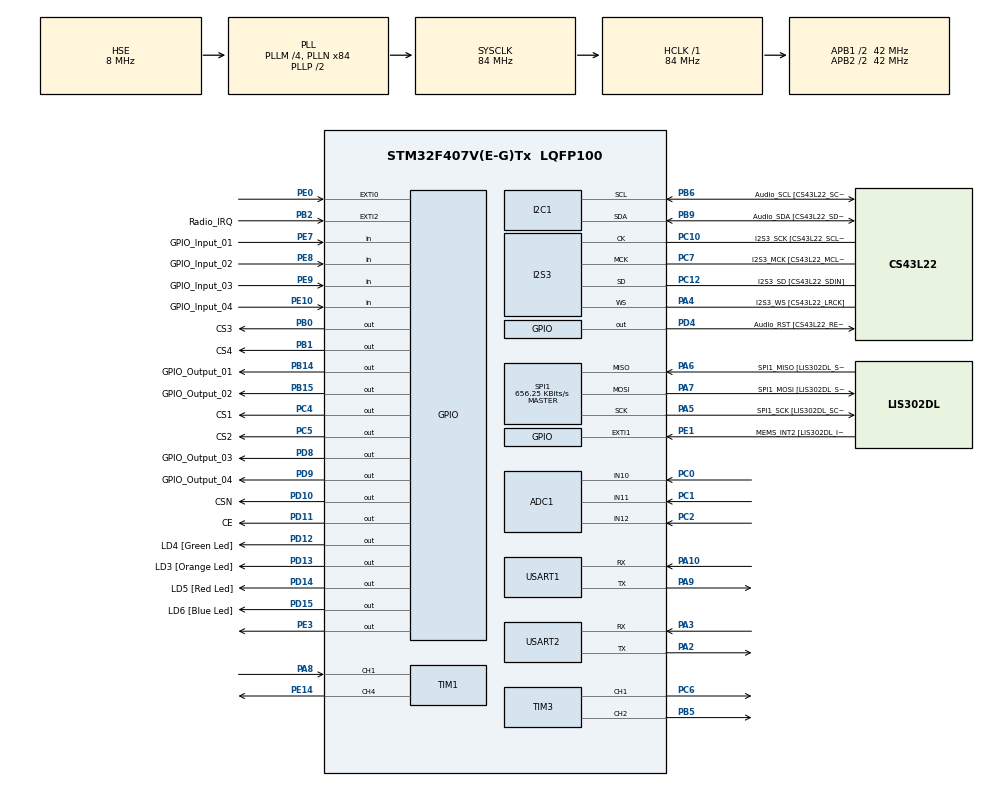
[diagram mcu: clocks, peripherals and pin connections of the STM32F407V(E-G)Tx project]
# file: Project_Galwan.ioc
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ADC1.Channel-8\#ChannelRegularConversion=ADC_CHANNEL_10
ADC1.ContinuousConvMode=ENABLE
ADC1.NbrOfConversionFlag=1
ADC1.Rank-8\#ChannelRegularConversion=1
ADC1.SamplingTime-8\#ChannelRegularConversion=ADC_SAMPLETIME_3CYCLES
ADC1.master=1
Dma.ADC1.0.Direction=DMA_PERIPH_TO_MEMORY
Dma.ADC1.0.FIFOMode=DMA_FIFOMODE_DISABLE
Dma.ADC1.0.Instance=DMA2_Stream0
Dma.ADC1.0.MemDataAlignment=DMA_MDATAALIGN_HALFWORD
Dma.ADC1.0.MemInc=DMA_MINC_ENABLE
Dma.ADC1.0.Mode=DMA_NORMAL
Dma.ADC1.0.PeriphDataAlignment=DMA_PDATAALIGN_HALFWORD
Dma.ADC1.0.PeriphInc=DMA_PINC_DISABLE
Dma.ADC1.0.Priority=DMA_PRIORITY_LOW
Dma.Request0=ADC1
Dma.Request1=USART2_RX
Dma.Request2=USART2_TX
Dma.USART2_RX.1.Direction=DMA_PERIPH_TO_MEMORY
Dma.USART2_RX.1.FIFOMode=DMA_FIFOMODE_DISABLE
Dma.USART2_RX.1.Instance=DMA1_Stream5
Dma.USART2_RX.1.MemDataAlignment=DMA_MDATAALIGN_BYTE
Dma.USART2_RX.1.MemInc=DMA_MINC_ENABLE
Dma.USART2_RX.1.Mode=DMA_NORMAL
Dma.USART2_RX.1.PeriphDataAlignment=DMA_PDATAALIGN_BYTE
Dma.USART2_RX.1.PeriphInc=DMA_PINC_DISABLE
Dma.USART2_RX.1.Priority=DMA_PRIORITY_LOW
Dma.USART2_TX.2.Direction=DMA_MEMORY_TO_PERIPH
Dma.USART2_TX.2.FIFOMode=DMA_FIFOMODE_DISABLE
Dma.USART2_TX.2.Instance=DMA1_Stream6
Dma.USART2_TX.2.MemDataAlignment=DMA_MDATAALIGN_BYTE
Dma.USART2_TX.2.MemInc=DMA_MINC_ENABLE
Dma.USART2_TX.2.Mode=DMA_NORMAL
Dma.USART2_TX.2.PeriphDataAlignment=DMA_PDATAALIGN_BYTE
Dma.USART2_TX.2.PeriphInc=DMA_PINC_DISABLE
Dma.USART2_TX.2.Priority=DMA_PRIORITY_LOW
I2C1.I2C_Mode=I2C_Fast
I2S3.AudioFreq=I2S_AUDIOFREQ_22K
I2S3.AudioFreq-Half_Duplex_Master=I2S_AUDIOFREQ_96K
I2S3.ErrorAudioFreq=-1.35 %
I2S3.ErrorAudioFreq-Half_Duplex_Master=0.8 %
I2S3.FullDuplexMode=I2S_FULLDUPLEXMODE_DISABLE
I2S3.Instance=SPI$Index
I2S3.RealAudioFreq=21.701 KHz
I2S3.RealAudioFreq-Half_Duplex_Master=96.774 KHz
I2S3.VirtualMode=I2S_MODE_MASTER
Mcu.Family=STM32F4
Mcu.Name=STM32F407V(E-G)Tx
Mcu.Package=LQFP100
NVIC.DMA1_Stream5_IRQn=true\:0\:0\:false\:false\:true\:false\:true
NVIC.DMA1_Stream6_IRQn=true\:0\:0\:false\:false\:true\:false\:true
NVIC.DMA2_Stream0_IRQn=true\:0\:0\:false\:false\:true\:false\:true
NVIC.EXTI0_IRQn=true\:0\:0\:false\:false\:true\:true\:true
NVIC.EXTI2_IRQn=true\:0\:0\:false\:false\:true\:true\:true
NVIC.I2C1_EV_IRQn=true\:0\:0\:false\:false\:true\:true\:true
NVIC.PriorityGroup=NVIC_PRIORITYGROUP_0
NVIC.RTC_Alarm_IRQn=true\:0\:0\:false\:false\:true\:true\:true
NVIC.SPI1_IRQn=true\:0\:0\:false\:false\:true\:true\:true
NVIC.TIM1_BRK_TIM9_IRQn=true\:0\:0\:false\:false\:true\:true\:true
NVIC.TIM1_UP_TIM10_IRQn=true\:0\:0\:false\:false\:true\:true\:true
NVIC.TIM3_IRQn=true\:0\:0\:false\:false\:true\:true\:true
NVIC.USART2_IRQn=true\:0\:0\:false\:false\:true\:true\:true
PA10.Mode=Asynchronous
PA10.Signal=USART1_RX
PA13.GPIO_Label=SWDIO
PA13.Mode=Serial_Wire
PA13.Signal=SYS_JTMS-SWDIO
PA14.GPIO_Label=SWCLK
PA14.Mode=Serial_Wire
PA14.Signal=SYS_JTCK-SWCLK
PA2.Mode=Asynchronous
PA2.Signal=USART2_TX
PA3.Mode=Asynchronous
PA3.Signal=USART2_RX
PA4.GPIO_Label=I2S3_WS [CS43L22_LRCK]
PA4.GPIO_Mode=GPIO_MODE_AF_PP
PA4.GPIO_PuPd=GPIO_NOPULL
PA4.GPIO_Speed=GPIO_SPEED_FREQ_LOW
PA4.Mode=Half_Duplex_Master
PA4.Signal=I2S3_WS
PA5.GPIO_Label=SPI1_SCK [LIS302DL_SCL/SPC]
PA5.GPIO_Mode=GPIO_MODE_AF_PP
PA5.GPIO_PuPd=GPIO_NOPULL
PA5.GPIO_Speed=GPIO_SPEED_FREQ_LOW
PA5.Mode=Full_Duplex_Master
PA5.Signal=SPI1_SCK
PA6.GPIO_Label=SPI1_MISO [LIS302DL_SDO]
PA6.GPIO_Mode=GPIO_MODE_AF_PP
PA6.GPIO_PuPd=GPIO_NOPULL
PA6.GPIO_Speed=GPIO_SPEED_FREQ_LOW
PA6.Mode=Full_Duplex_Master
PA6.Signal=SPI1_MISO
PA7.GPIO_Label=SPI1_MOSI [LIS302DL_SDA/SDI/SDO]
PA7.GPIO_Mode=GPIO_MODE_AF_PP
PA7.GPIO_PuPd=GPIO_NOPULL
PA7.GPIO_Speed=GPIO_SPEED_FREQ_LOW
PA7.Mode=Full_Duplex_Master
PA7.Signal=SPI1_MOSI
PA8.Signal=S_TIM1_CH1
PA9.Mode=Asynchronous
PA9.Signal=USART1_TX
PB0.GPIO_Label=CS3
PB0.Signal=GPIO_Output
PB1.GPIO_Label=CS4
PB1.Signal=GPIO_Output
PB10.GPIO_Label=CLK_IN [MP45DT02_CLK]
PB10.GPIO_Mode=GPIO_MODE_AF_PP
PB10.GPIO_PuPd=GPIO_NOPULL
PB10.GPIO_Speed=GPIO_SPEED_FREQ_LOW
PB10.Signal=I2S2_CK
PB14.GPIO_Label=GPIO_Output_01
PB14.Signal=GPIO_Output
PB15.GPIO_Label=GPIO_Output_02
PB15.Signal=GPIO_Output
PB2.GPIO_Label=Radio_IRQ
PB2.GPIO_ModeDefaultEXTI=GPIO_MODE_IT_FALLING
PB2.Signal=GPXTI2
PB3.GPIO_Label=SWO
PB3.Signal=SYS_JTDO-SWO
PB5.Signal=S_TIM3_CH2
PB6.GPIO_Label=Audio_SCL [CS43L22_SCL]
PB6.GPIO_Mode=GPIO_MODE_AF_OD
PB6.GPIO_PuPd=GPIO_NOPULL
PB6.GPIO_Speed=GPIO_SPEED_FREQ_LOW
PB6.Mode=I2C
PB6.Signal=I2C1_SCL
PB9.GPIO_Label=Audio_SDA [CS43L22_SDA]
PB9.GPIO_Mode=GPIO_MODE_AF_OD
PB9.GPIO_PuPd=GPIO_NOPULL
PB9.GPIO_Speed=GPIO_SPEED_FREQ_LOW
PB9.Mode=I2C
PB9.Signal=I2C1_SDA
PC0.Signal=ADCx_IN10
PC1.Signal=ADCx_IN11
PC10.GPIO_Label=I2S3_SCK [CS43L22_SCLK]
PC10.GPIO_Mode=GPIO_MODE_AF_PP
PC10.GPIO_PuPd=GPIO_NOPULL
PC10.GPIO_Speed=GPIO_SPEED_FREQ_LOW
PC10.Mode=Half_Duplex_Master
PC10.Signal=I2S3_CK
PC12.GPIO_Label=I2S3_SD [CS43L22_SDIN]
PC12.GPIO_Mode=GPIO_MODE_AF_PP
PC12.GPIO_PuPd=GPIO_NOPULL
PC12.GPIO_Speed=GPIO_SPEED_FREQ_LOW
PC12.Mode=Half_Duplex_Master
PC12.Signal=I2S3_SD
PC14-OSC32_IN.GPIO_Label=PC14-OSC32_IN
PC14-OSC32_IN.Mode=LSE-External-Oscillator
PC14-OSC32_IN.Signal=RCC_OSC32_IN
PC15-OSC32_OUT.GPIO_Label=PC15-OSC32_OUT
PC15-OSC32_OUT.Mode=LSE-External-Oscillator
PC15-OSC32_OUT.Signal=RCC_OSC32_OUT
PC2.Signal=ADCx_IN12
PC3.GPIO_Label=PDM_OUT [MP45DT02_DOUT]
PC3.GPIO_Mode=GPIO_MODE_AF_PP
PC3.GPIO_PuPd=GPIO_NOPULL
PC3.GPIO_Speed=GPIO_SPEED_FREQ_LOW
PC3.Signal=I2S2_SD
PC4.GPIO_Label=CS1
PC4.Signal=GPIO_Output
PC5.GPIO_Label=CS2
PC5.Signal=GPIO_Output
PC6.Signal=S_TIM3_CH1
PC7.GPIO_Label=I2S3_MCK [CS43L22_MCLK]
PC7.GPIO_Mode=GPIO_MODE_AF_PP
PC7.GPIO_PuPd=GPIO_NOPULL
PC7.GPIO_Speed=GPIO_SPEED_FREQ_LOW
PC7.Mode=Master_Clock_Activated
PC7.Signal=I2S3_MCK
PD10.GPIO_Label=CSN
PD10.Signal=GPIO_Output
PD11.GPIO_Label=CE
PD11.Signal=GPIO_Output
PD12.GPIO_Label=LD4 [Green Led]
PD12.GPIO_PuPd=GPIO_NOPULL
PD12.GPIO_Speed=GPIO_SPEED_FREQ_LOW
PD12.Signal=GPIO_Output
PD13.GPIO_Label=LD3 [Orange Led]
PD13.GPIO_PuPd=GPIO_NOPULL
PD13.GPIO_Speed=GPIO_SPEED_FREQ_LOW
PD13.Signal=GPIO_Output
PD14.GPIO_Label=LD5 [Red Led]
PD14.GPIO_PuPd=GPIO_NOPULL
PD14.GPIO_Speed=GPIO_SPEED_FREQ_LOW
PD14.Signal=GPIO_Output
PD15.GPIO_Label=LD6 [Blue Led]
PD15.GPIO_PuPd=GPIO_NOPULL
PD15.GPIO_Speed=GPIO_SPEED_FREQ_LOW
PD15.Signal=GPIO_Output
PD4.GPIO_Label=Audio_RST [CS43L22_RESET]
PD4.GPIO_PuPd=GPIO_NOPULL
PD4.GPIO_Speed=GPIO_SPEED_FREQ_LOW
PD4.Signal=GPIO_Output
PD8.GPIO_Label=GPIO_Output_03
PD8.Signal=GPIO_Output
PD9.GPIO_Label=GPIO_Output_04
PD9.Signal=GPIO_Output
PE0.Signal=GPXTI0
PE1.GPIO_Label=MEMS_INT2 [LIS302DL_INT2]
PE1.GPIO_ModeDefaultEXTI=GPIO_MODE_EVT_RISING
PE1.GPIO_PuPd=GPIO_NOPULL
PE1.Signal=GPXTI1
PE10.GPIO_Label=GPIO_Input_04
PE10.Signal=GPIO_Input
PE14.Signal=S_TIM1_CH4
PE3.Signal=GPIO_Output
PE7.GPIO_Label=GPIO_Input_01
PE7.Signal=GPIO_Input
PE8.GPIO_Label=GPIO_Input_02
PE8.Signal=GPIO_Input
PE9.GPIO_Label=GPIO_Input_03
PE9.Signal=GPIO_Input
PH0-OSC_IN.GPIO_Label=PH0-OSC_IN
PH0-OSC_IN.Mode=HSE-External-Oscillator
PH0-OSC_IN.Signal=RCC_OSC_IN
PH1-OSC_OUT.GPIO_Label=PH1-OSC_OUT
PH1-OSC_OUT.Mode=HSE-External-Oscillator
PH1-OSC_OUT.Signal=RCC_OSC_OUT
ProjectManager.HeapSize=0x200
ProjectManager.StackSize=0x400
ProjectManager.TargetToolchain=STM32CubeIDE
RCC.48MHZClocksFreq_Value=24000000
RCC.AHBFreq_Value=84000000
RCC.APB1CLKDivider=RCC_HCLK_DIV2
RCC.APB1Freq_Value=42000000
RCC.APB1TimFreq_Value=84000000
RCC.APB2CLKDivider=RCC_HCLK_DIV2
RCC.APB2Freq_Value=42000000
RCC.APB2TimFreq_Value=84000000
RCC.CortexFreq_Value=84000000
RCC.EnbaleCSS=true
RCC.HCLKFreq_Value=84000000
RCC.HSE_VALUE=8000000
RCC.HSI_VALUE=16000000
RCC.PLLI2SN=50
RCC.PLLM=4
RCC.PLLN=84
RCC.PLLQ=7
RCC.PLLSourceVirtual=RCC_PLLSOURCE_HSE
RCC.SYSCLKFreq_VALUE=84000000
RCC.SYSCLKSource=RCC_SYSCLKSOURCE_PLLCLK
RCC.VCOOutputFreq_Value=168000000
RTC.Alarm=RTC_ALARM_A
SH.ADCx_IN10.0=ADC1_IN10,IN10
SH.ADCx_IN11.0=ADC1_IN11,IN11
SH.ADCx_IN12.0=ADC1_IN12,IN12
SH.S_TIM1_CH1.0=TIM1_CH1,Input_Capture1_from_TI1
SH.S_TIM1_CH1.1=TIM1_CH1,Input_Capture2_from_TI1
SH.S_TIM1_CH4.0=TIM1_CH4,Output Compare4 CH4
SH.S_TIM3_CH1.0=TIM3_CH1,PWM Generation1 CH1
SH.S_TIM3_CH2.0=TIM3_CH2,PWM Generation2 CH2
SPI1.BaudRatePrescaler=SPI_BAUDRATEPRESCALER_64
SPI1.BaudRatePrescaler-Full_Duplex_Master=SPI_BAUDRATEPRESCALER_2
SPI1.CalculateBaudRate=656.25 KBits/s
SPI1.CalculateBaudRate-Full_Duplex_Master=42.0 MBits/s
SPI1.Direction=SPI_DIRECTION_2LINES
SPI1.Mode=SPI_MODE_MASTER
SPI1.Mode-Full_Duplex_Master=SPI_MODE_MASTER
SPI1.VirtualType=VM_MASTER
TIM1.Channel-Input_Capture1_from_TI1=TIM_CHANNEL_1
TIM1.Channel-Input_Capture2_from_TI1=TIM_CHANNEL_2
TIM1.Channel-Output\ Compare3\ No\ Output=TIM_CHANNEL_3
TIM1.Channel-Output\ Compare4\ CH4=TIM_CHANNEL_4
TIM10.AutoReloadPreload=TIM_AUTORELOAD_PRELOAD_ENABLE
TIM10.Period=1000
TIM10.Prescaler=84
TIM3.Channel-Output\ Compare3\ No\ Output=TIM_CHANNEL_3
TIM3.Channel-Output\ Compare4\ No\ Output=TIM_CHANNEL_4
TIM3.Channel-PWM\ Generation1\ CH1=TIM_CHANNEL_1
TIM3.Channel-PWM\ Generation2\ CH2=TIM_CHANNEL_2
USART1.VirtualMode=VM_ASYNC
USART2.VirtualMode=VM_ASYNC
VP_ADC1_TempSens_Input.Mode=IN-TempSens
VP_ADC1_Vbat_Input.Mode=IN-Vbat
VP_ADC1_Vref_Input.Mode=IN-Vrefint
VP_RTC_VS_RTC_Activate.Mode=RTC_Enabled
VP_RTC_VS_RTC_Alarm_A_Intern.Mode=Alarm A
VP_RTC_VS_RTC_Calendar.Mode=RTC_Calendar
VP_TIM10_VS_ClockSourceINT.Mode=Enable_Timer
VP_TIM1_VS_ClockSourceITR.Mode=TriggerSource_ITR0
VP_TIM1_VS_ControllerModeClock.Mode=Clock Mode
VP_TIM1_VS_no_output3.Mode=Output Compare3 No Output
VP_TIM2_VS_ClockSourceITR.Mode=TriggerSource_ITR0
VP_TIM2_VS_ControllerModeClock.Mode=Clock Mode
VP_TIM3_VS_ClockSourceITR.Mode=TriggerSource_ITR1
VP_TIM3_VS_ControllerModeClock.Mode=Clock Mode
VP_TIM3_VS_no_output3.Mode=Output Compare3 No Output
VP_TIM3_VS_no_output4.Mode=Output Compare4 No Output
board=STM32F407G-DISC1

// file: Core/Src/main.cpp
/* USER CODE BEGIN Header */
/**
  ******************************************************************************
  * @file           : main.cpp
  * @brief          : Main program body
  ******************************************************************************
  * @attention
  *
  * <h2><center>&copy; Copyright (c) 2020 STMicroelectronics.
  * All rights reserved.</center></h2>
  *
  * This software component is licensed by ST under Ultimate Liberty license
  * SLA0044, the "License"; You may not use this file except in compliance with
  * the License. You may obtain a copy of the License at:
  *                             www.st.com/SLA0044
  *
  ******************************************************************************
  */
/* USER CODE END Header */
#include "main.h"

/* USER CODE BEGIN Includes */
#include "OLED_LCD_Control.h"
#include "Helper_Function.h"
#include "Main_Device_Control_And_Schedule.h"

/* USER CODE END Includes */

ADC_HandleTypeDef hadc1;
DMA_HandleTypeDef hdma_adc1;

I2C_HandleTypeDef hi2c1;

I2S_HandleTypeDef hi2s3;

RTC_HandleTypeDef hrtc;

SPI_HandleTypeDef hspi1;

TIM_HandleTypeDef htim1;
TIM_HandleTypeDef htim2;
TIM_HandleTypeDef htim3;
TIM_HandleTypeDef htim10;

UART_HandleTypeDef huart1;
UART_HandleTypeDef huart2;
DMA_HandleTypeDef hdma_usart2_rx;
DMA_HandleTypeDef hdma_usart2_tx;

/* USER CODE BEGIN PV */

uint16_t  timer_count = 0;

extern uint8_t gAccelerometer_DataReady_Flag;
/* USER CODE END PV */

void SystemClock_Config(void);
static void MX_GPIO_Init(void);
static void MX_DMA_Init(void);
static void MX_ADC1_Init(void);
static void MX_I2C1_Init(void);
static void MX_I2S3_Init(void);
static void MX_RTC_Init(void);
static void MX_SPI1_Init(void);
static void MX_TIM1_Init(void);
static void MX_TIM2_Init(void);
static void MX_TIM3_Init(void);
static void MX_USART1_UART_Init(void);
static void MX_USART2_UART_Init(void);
static void MX_TIM10_Init(void);

int main(void)
{

  /* MCU Configuration--------------------------------------------------------*/

  /* Reset of all peripherals, Initializes the Flash interface and the Systick. */
  HAL_Init();

  /* Configure the system clock */
  SystemClock_Config();

  /* Initialize all configured peripherals */
  MX_GPIO_Init();
  MX_DMA_Init();
  MX_ADC1_Init();
  MX_I2C1_Init();
  MX_I2S3_Init();
  MX_RTC_Init();
  MX_SPI1_Init();
  MX_TIM1_Init();
  MX_TIM2_Init();
  MX_TIM3_Init();
  MX_USART1_UART_Init();
  MX_USART2_UART_Init();
  MX_TIM10_Init();
  /* USER CODE BEGIN 2 */

  HAL_TIM_Base_Start( &htim1);
  HAL_TIM_Base_Start( &htim2);
  HAL_TIM_Base_Start_IT( &htim10);

  char print_info[100] = " \n Welcome to Project -- Galwan -- \r\n ";
  Print_Debug_Info_UART(print_info);

	OLED_Initial_Configuartion();		// 2 Sec wait inside
  All_Devices_Initial_Configuration();

  /* USER CODE END 2 */

  /* Infinite loop */
  /* USER CODE BEGIN WHILE */
  while (1)
  {

	  HAL_GPIO_TogglePin(GPIOD, GPIO_PIN_15);	// Blue LED

//	  HAL_Delay(500);

	  All_Device_Control_And_Schedule();

	  OLED_Schedule_And_Event_Control();

    /* USER CODE END WHILE */

  }
}

void SystemClock_Config(void)
{
  RCC_OscInitTypeDef RCC_OscInitStruct = {0};
  RCC_ClkInitTypeDef RCC_ClkInitStruct = {0};
  RCC_PeriphCLKInitTypeDef PeriphClkInitStruct = {0};

  /** Configure the main internal regulator output voltage
  */
  __HAL_RCC_PWR_CLK_ENABLE();
  __HAL_PWR_VOLTAGESCALING_CONFIG(PWR_REGULATOR_VOLTAGE_SCALE1);
  /** Initializes the RCC Oscillators according to the specified parameters
  * in the RCC_OscInitTypeDef structure.
  */
  RCC_OscInitStruct.OscillatorType = RCC_OSCILLATORTYPE_LSI|RCC_OSCILLATORTYPE_HSE;
  RCC_OscInitStruct.HSEState = RCC_HSE_ON;
  RCC_OscInitStruct.LSIState = RCC_LSI_ON;
  RCC_OscInitStruct.PLL.PLLState = RCC_PLL_ON;
  RCC_OscInitStruct.PLL.PLLSource = RCC_PLLSOURCE_HSE;
  RCC_OscInitStruct.PLL.PLLM = 4;
  RCC_OscInitStruct.PLL.PLLN = 84;
  RCC_OscInitStruct.PLL.PLLP = RCC_PLLP_DIV2;
  RCC_OscInitStruct.PLL.PLLQ = 7;
  if (HAL_RCC_OscConfig(&RCC_OscInitStruct) != HAL_OK)
  {
    Error_Handler();
  }
  /** Initializes the CPU, AHB and APB buses clocks
  */
  RCC_ClkInitStruct.ClockType = RCC_CLOCKTYPE_HCLK|RCC_CLOCKTYPE_SYSCLK
                              |RCC_CLOCKTYPE_PCLK1|RCC_CLOCKTYPE_PCLK2;
  RCC_ClkInitStruct.SYSCLKSource = RCC_SYSCLKSOURCE_PLLCLK;
  RCC_ClkInitStruct.AHBCLKDivider = RCC_SYSCLK_DIV1;
  RCC_ClkInitStruct.APB1CLKDivider = RCC_HCLK_DIV2;
  RCC_ClkInitStruct.APB2CLKDivider = RCC_HCLK_DIV2;

  if (HAL_RCC_ClockConfig(&RCC_ClkInitStruct, FLASH_LATENCY_2) != HAL_OK)
  {
    Error_Handler();
  }
  PeriphClkInitStruct.PeriphClockSelection = RCC_PERIPHCLK_I2S|RCC_PERIPHCLK_RTC;
  PeriphClkInitStruct.PLLI2S.PLLI2SN = 50;
  PeriphClkInitStruct.PLLI2S.PLLI2SR = 2;
  PeriphClkInitStruct.RTCClockSelection = RCC_RTCCLKSOURCE_LSI;
  if (HAL_RCCEx_PeriphCLKConfig(&PeriphClkInitStruct) != HAL_OK)
  {
    Error_Handler();
  }
  /** Enables the Clock Security System
  */
  HAL_RCC_EnableCSS();
}

static void MX_ADC1_Init(void)
{

  ADC_ChannelConfTypeDef sConfig = {0};

  /** Configure the global features of the ADC (Clock, Resolution, Data Alignment and number of conversion)
  */
  hadc1.Instance = ADC1;
  hadc1.Init.ClockPrescaler = ADC_CLOCK_SYNC_PCLK_DIV2;
  hadc1.Init.Resolution = ADC_RESOLUTION_12B;
  hadc1.Init.ScanConvMode = DISABLE;
  hadc1.Init.ContinuousConvMode = ENABLE;
  hadc1.Init.DiscontinuousConvMode = DISABLE;
  hadc1.Init.ExternalTrigConvEdge = ADC_EXTERNALTRIGCONVEDGE_NONE;
  hadc1.Init.ExternalTrigConv = ADC_SOFTWARE_START;
  hadc1.Init.DataAlign = ADC_DATAALIGN_RIGHT;
  hadc1.Init.NbrOfConversion = 1;
  hadc1.Init.DMAContinuousRequests = DISABLE;
  hadc1.Init.EOCSelection = ADC_EOC_SINGLE_CONV;
  if (HAL_ADC_Init(&hadc1) != HAL_OK)
  {
    Error_Handler();
  }
  /** Configure for the selected ADC regular channel its corresponding rank in the sequencer and its sample time.
  */
  sConfig.Channel = ADC_CHANNEL_10;
  sConfig.Rank = 1;
  sConfig.SamplingTime = ADC_SAMPLETIME_3CYCLES;
  if (HAL_ADC_ConfigChannel(&hadc1, &sConfig) != HAL_OK)
  {
    Error_Handler();
  }

}

static void MX_I2C1_Init(void)
{

  hi2c1.Instance = I2C1;
  hi2c1.Init.ClockSpeed = 400000;
  hi2c1.Init.DutyCycle = I2C_DUTYCYCLE_2;
  hi2c1.Init.OwnAddress1 = 0;
  hi2c1.Init.AddressingMode = I2C_ADDRESSINGMODE_7BIT;
  hi2c1.Init.DualAddressMode = I2C_DUALADDRESS_DISABLE;
  hi2c1.Init.OwnAddress2 = 0;
  hi2c1.Init.GeneralCallMode = I2C_GENERALCALL_DISABLE;
  hi2c1.Init.NoStretchMode = I2C_NOSTRETCH_DISABLE;
  if (HAL_I2C_Init(&hi2c1) != HAL_OK)
  {
    Error_Handler();
  }

}

static void MX_I2S3_Init(void)
{

  hi2s3.Instance = SPI3;
  hi2s3.Init.Mode = I2S_MODE_MASTER_TX;
  hi2s3.Init.Standard = I2S_STANDARD_PHILIPS;
  hi2s3.Init.DataFormat = I2S_DATAFORMAT_16B;
  hi2s3.Init.MCLKOutput = I2S_MCLKOUTPUT_ENABLE;
  hi2s3.Init.AudioFreq = I2S_AUDIOFREQ_22K;
  hi2s3.Init.CPOL = I2S_CPOL_LOW;
  hi2s3.Init.ClockSource = I2S_CLOCK_PLL;
  hi2s3.Init.FullDuplexMode = I2S_FULLDUPLEXMODE_DISABLE;
  if (HAL_I2S_Init(&hi2s3) != HAL_OK)
  {
    Error_Handler();
  }

}

static void MX_RTC_Init(void)
{

  RTC_TimeTypeDef sTime = {0};
  RTC_DateTypeDef sDate = {0};
  RTC_AlarmTypeDef sAlarm = {0};

  /** Initialize RTC Only
  */
  hrtc.Instance = RTC;
  hrtc.Init.HourFormat = RTC_HOURFORMAT_24;
  hrtc.Init.AsynchPrediv = 127;
  hrtc.Init.SynchPrediv = 255;
  hrtc.Init.OutPut = RTC_OUTPUT_DISABLE;
  hrtc.Init.OutPutPolarity = RTC_OUTPUT_POLARITY_HIGH;
  hrtc.Init.OutPutType = RTC_OUTPUT_TYPE_OPENDRAIN;
  if (HAL_RTC_Init(&hrtc) != HAL_OK)
  {
    Error_Handler();
  }

  /** Initialize RTC and set the Time and Date
  */
  sTime.Hours = 0x0;
  sTime.Minutes = 0x0;
  sTime.Seconds = 0x0;
  sTime.DayLightSaving = RTC_DAYLIGHTSAVING_NONE;
  sTime.StoreOperation = RTC_STOREOPERATION_RESET;
  if (HAL_RTC_SetTime(&hrtc, &sTime, RTC_FORMAT_BCD) != HAL_OK)
  {
    Error_Handler();
  }
  sDate.WeekDay = RTC_WEEKDAY_MONDAY;
  sDate.Month = RTC_MONTH_JANUARY;
  sDate.Date = 0x1;
  sDate.Year = 0x0;

  if (HAL_RTC_SetDate(&hrtc, &sDate, RTC_FORMAT_BCD) != HAL_OK)
  {
    Error_Handler();
  }
  /** Enable the Alarm A
  */
  sAlarm.AlarmTime.Hours = 0x0;
  sAlarm.AlarmTime.Minutes = 0x0;
  sAlarm.AlarmTime.Seconds = 0x0;
  sAlarm.AlarmTime.SubSeconds = 0x0;
  sAlarm.AlarmTime.DayLightSaving = RTC_DAYLIGHTSAVING_NONE;
  sAlarm.AlarmTime.StoreOperation = RTC_STOREOPERATION_RESET;
  sAlarm.AlarmMask = RTC_ALARMMASK_NONE;
  sAlarm.AlarmSubSecondMask = RTC_ALARMSUBSECONDMASK_ALL;
  sAlarm.AlarmDateWeekDaySel = RTC_ALARMDATEWEEKDAYSEL_DATE;
  sAlarm.AlarmDateWeekDay = 0x1;
  sAlarm.Alarm = RTC_ALARM_A;
  if (HAL_RTC_SetAlarm_IT(&hrtc, &sAlarm, RTC_FORMAT_BCD) != HAL_OK)
  {
    Error_Handler();
  }

}

static void MX_SPI1_Init(void)
{

  /* SPI1 parameter configuration*/
  hspi1.Instance = SPI1;
  hspi1.Init.Mode = SPI_MODE_MASTER;
  hspi1.Init.Direction = SPI_DIRECTION_2LINES;
  hspi1.Init.DataSize = SPI_DATASIZE_8BIT;
  hspi1.Init.CLKPolarity = SPI_POLARITY_LOW;
  hspi1.Init.CLKPhase = SPI_PHASE_1EDGE;
  hspi1.Init.NSS = SPI_NSS_SOFT;
  hspi1.Init.BaudRatePrescaler = SPI_BAUDRATEPRESCALER_64;
  hspi1.Init.FirstBit = SPI_FIRSTBIT_MSB;
  hspi1.Init.TIMode = SPI_TIMODE_DISABLE;
  hspi1.Init.CRCCalculation = SPI_CRCCALCULATION_DISABLE;
  hspi1.Init.CRCPolynomial = 10;
  if (HAL_SPI_Init(&hspi1) != HAL_OK)
  {
    Error_Handler();
  }

}

static void MX_TIM1_Init(void)
{

  TIM_SlaveConfigTypeDef sSlaveConfig = {0};
  TIM_MasterConfigTypeDef sMasterConfig = {0};
  TIM_IC_InitTypeDef sConfigIC = {0};
  TIM_OC_InitTypeDef sConfigOC = {0};
  TIM_BreakDeadTimeConfigTypeDef sBreakDeadTimeConfig = {0};

  htim1.Instance = TIM1;
  htim1.Init.Prescaler = 0;
  htim1.Init.CounterMode = TIM_COUNTERMODE_UP;
  htim1.Init.Period = 65535;
  htim1.Init.ClockDivision = TIM_CLOCKDIVISION_DIV1;
  htim1.Init.RepetitionCounter = 0;
  htim1.Init.AutoReloadPreload = TIM_AUTORELOAD_PRELOAD_DISABLE;
  if (HAL_TIM_Base_Init(&htim1) != HAL_OK)
  {
    Error_Handler();
  }
  if (HAL_TIM_IC_Init(&htim1) != HAL_OK)
  {
    Error_Handler();
  }
  if (HAL_TIM_OC_Init(&htim1) != HAL_OK)
  {
    Error_Handler();
  }
  sSlaveConfig.SlaveMode = TIM_SLAVEMODE_EXTERNAL1;
  sSlaveConfig.InputTrigger = TIM_TS_ITR0;
  if (HAL_TIM_SlaveConfigSynchro(&htim1, &sSlaveConfig) != HAL_OK)
  {
    Error_Handler();
  }
  sMasterConfig.MasterOutputTrigger = TIM_TRGO_RESET;
  sMasterConfig.MasterSlaveMode = TIM_MASTERSLAVEMODE_DISABLE;
  if (HAL_TIMEx_MasterConfigSynchronization(&htim1, &sMasterConfig) != HAL_OK)
  {
    Error_Handler();
  }
  sConfigIC.ICPolarity = TIM_INPUTCHANNELPOLARITY_RISING;
  sConfigIC.ICSelection = TIM_ICSELECTION_DIRECTTI;
  sConfigIC.ICPrescaler = TIM_ICPSC_DIV1;
  sConfigIC.ICFilter = 0;
  if (HAL_TIM_IC_ConfigChannel(&htim1, &sConfigIC, TIM_CHANNEL_1) != HAL_OK)
  {
    Error_Handler();
  }
  sConfigIC.ICSelection = TIM_ICSELECTION_INDIRECTTI;
  if (HAL_TIM_IC_ConfigChannel(&htim1, &sConfigIC, TIM_CHANNEL_2) != HAL_OK)
  {
    Error_Handler();
  }
  sConfigOC.OCMode = TIM_OCMODE_TIMING;
  sConfigOC.Pulse = 0;
  sConfigOC.OCPolarity = TIM_OCPOLARITY_HIGH;
  sConfigOC.OCNPolarity = TIM_OCNPOLARITY_HIGH;
  sConfigOC.OCFastMode = TIM_OCFAST_DISABLE;
  sConfigOC.OCIdleState = TIM_OCIDLESTATE_RESET;
  sConfigOC.OCNIdleState = TIM_OCNIDLESTATE_RESET;
  if (HAL_TIM_OC_ConfigChannel(&htim1, &sConfigOC, TIM_CHANNEL_3) != HAL_OK)
  {
    Error_Handler();
  }
  if (HAL_TIM_OC_ConfigChannel(&htim1, &sConfigOC, TIM_CHANNEL_4) != HAL_OK)
  {
    Error_Handler();
  }
  sBreakDeadTimeConfig.OffStateRunMode = TIM_OSSR_DISABLE;
  sBreakDeadTimeConfig.OffStateIDLEMode = TIM_OSSI_DISABLE;
  sBreakDeadTimeConfig.LockLevel = TIM_LOCKLEVEL_OFF;
  sBreakDeadTimeConfig.DeadTime = 0;
  sBreakDeadTimeConfig.BreakState = TIM_BREAK_DISABLE;
  sBreakDeadTimeConfig.BreakPolarity = TIM_BREAKPOLARITY_HIGH;
  sBreakDeadTimeConfig.AutomaticOutput = TIM_AUTOMATICOUTPUT_DISABLE;
  if (HAL_TIMEx_ConfigBreakDeadTime(&htim1, &sBreakDeadTimeConfig) != HAL_OK)
  {
    Error_Handler();
  }
  HAL_TIM_MspPostInit(&htim1);

}

static void MX_TIM2_Init(void)
{

  TIM_SlaveConfigTypeDef sSlaveConfig = {0};
  TIM_MasterConfigTypeDef sMasterConfig = {0};

  htim2.Instance = TIM2;
  htim2.Init.Prescaler = 0;
  htim2.Init.CounterMode = TIM_COUNTERMODE_UP;
  htim2.Init.Period = 4294967295;
  htim2.Init.ClockDivision = TIM_CLOCKDIVISION_DIV1;
  htim2.Init.AutoReloadPreload = TIM_AUTORELOAD_PRELOAD_DISABLE;
  if (HAL_TIM_Base_Init(&htim2) != HAL_OK)
  {
    Error_Handler();
  }
  sSlaveConfig.SlaveMode = TIM_SLAVEMODE_EXTERNAL1;
  sSlaveConfig.InputTrigger = TIM_TS_ITR0;
  if (HAL_TIM_SlaveConfigSynchro(&htim2, &sSlaveConfig) != HAL_OK)
  {
    Error_Handler();
  }
  sMasterConfig.MasterOutputTrigger = TIM_TRGO_RESET;
  sMasterConfig.MasterSlaveMode = TIM_MASTERSLAVEMODE_DISABLE;
  if (HAL_TIMEx_MasterConfigSynchronization(&htim2, &sMasterConfig) != HAL_OK)
  {
    Error_Handler();
  }

}

static void MX_TIM3_Init(void)
{

  TIM_SlaveConfigTypeDef sSlaveConfig = {0};
  TIM_MasterConfigTypeDef sMasterConfig = {0};
  TIM_OC_InitTypeDef sConfigOC = {0};

  htim3.Instance = TIM3;
  htim3.Init.Prescaler = 0;
  htim3.Init.CounterMode = TIM_COUNTERMODE_UP;
  htim3.Init.Period = 65535;
  htim3.Init.ClockDivision = TIM_CLOCKDIVISION_DIV1;
  htim3.Init.AutoReloadPreload = TIM_AUTORELOAD_PRELOAD_DISABLE;
  if (HAL_TIM_Base_Init(&htim3) != HAL_OK)
  {
    Error_Handler();
  }
  if (HAL_TIM_PWM_Init(&htim3) != HAL_OK)
  {
    Error_Handler();
  }
  if (HAL_TIM_OC_Init(&htim3) != HAL_OK)
  {
    Error_Handler();
  }
  sSlaveConfig.SlaveMode = TIM_SLAVEMODE_EXTERNAL1;
  sSlaveConfig.InputTrigger = TIM_TS_ITR1;
  if (HAL_TIM_SlaveConfigSynchro(&htim3, &sSlaveConfig) != HAL_OK)
  {
    Error_Handler();
  }
  sMasterConfig.MasterOutputTrigger = TIM_TRGO_RESET;
  sMasterConfig.MasterSlaveMode = TIM_MASTERSLAVEMODE_DISABLE;
  if (HAL_TIMEx_MasterConfigSynchronization(&htim3, &sMasterConfig) != HAL_OK)
  {
    Error_Handler();
  }
  sConfigOC.OCMode = TIM_OCMODE_PWM1;
  sConfigOC.Pulse = 0;
  sConfigOC.OCPolarity = TIM_OCPOLARITY_HIGH;
  sConfigOC.OCFastMode = TIM_OCFAST_DISABLE;
  if (HAL_TIM_PWM_ConfigChannel(&htim3, &sConfigOC, TIM_CHANNEL_1) != HAL_OK)
  {
    Error_Handler();
  }
  if (HAL_TIM_PWM_ConfigChannel(&htim3, &sConfigOC, TIM_CHANNEL_2) != HAL_OK)
  {
    Error_Handler();
  }
  sConfigOC.OCMode = TIM_OCMODE_TIMING;
  if (HAL_TIM_OC_ConfigChannel(&htim3, &sConfigOC, TIM_CHANNEL_3) != HAL_OK)
  {
    Error_Handler();
  }
  if (HAL_TIM_OC_ConfigChannel(&htim3, &sConfigOC, TIM_CHANNEL_4) != HAL_OK)
  {
    Error_Handler();
  }
  HAL_TIM_MspPostInit(&htim3);

}

static void MX_TIM10_Init(void)
{

  htim10.Instance = TIM10;
  htim10.Init.Prescaler = 84;
  htim10.Init.CounterMode = TIM_COUNTERMODE_UP;
  htim10.Init.Period = 1000;
  htim10.Init.ClockDivision = TIM_CLOCKDIVISION_DIV1;
  htim10.Init.AutoReloadPreload = TIM_AUTORELOAD_PRELOAD_ENABLE;
  if (HAL_TIM_Base_Init(&htim10) != HAL_OK)
  {
    Error_Handler();
  }

}

static void MX_USART1_UART_Init(void)
{

  huart1.Instance = USART1;
  huart1.Init.BaudRate = 115200;
  huart1.Init.WordLength = UART_WORDLENGTH_8B;
  huart1.Init.StopBits = UART_STOPBITS_1;
  huart1.Init.Parity = UART_PARITY_NONE;
  huart1.Init.Mode = UART_MODE_TX_RX;
  huart1.Init.HwFlowCtl = UART_HWCONTROL_NONE;
  huart1.Init.OverSampling = UART_OVERSAMPLING_16;
  if (HAL_UART_Init(&huart1) != HAL_OK)
  {
    Error_Handler();
  }

}

static void MX_USART2_UART_Init(void)
{

  huart2.Instance = USART2;
  huart2.Init.BaudRate = 115200;
  huart2.Init.WordLength = UART_WORDLENGTH_8B;
  huart2.Init.StopBits = UART_STOPBITS_1;
  huart2.Init.Parity = UART_PARITY_NONE;
  huart2.Init.Mode = UART_MODE_TX_RX;
  huart2.Init.HwFlowCtl = UART_HWCONTROL_NONE;
  huart2.Init.OverSampling = UART_OVERSAMPLING_16;
  if (HAL_UART_Init(&huart2) != HAL_OK)
  {
    Error_Handler();
  }

}

static void MX_DMA_Init(void)
{

  /* DMA controller clock enable */
  __HAL_RCC_DMA2_CLK_ENABLE();
  __HAL_RCC_DMA1_CLK_ENABLE();

  /* DMA interrupt init */
  /* DMA1_Stream5_IRQn interrupt configuration */
  HAL_NVIC_SetPriority(DMA1_Stream5_IRQn, 0, 0);
  HAL_NVIC_EnableIRQ(DMA1_Stream5_IRQn);
  /* DMA1_Stream6_IRQn interrupt configuration */
  HAL_NVIC_SetPriority(DMA1_Stream6_IRQn, 0, 0);
  HAL_NVIC_EnableIRQ(DMA1_Stream6_IRQn);
  /* DMA2_Stream0_IRQn interrupt configuration */
  HAL_NVIC_SetPriority(DMA2_Stream0_IRQn, 0, 0);
  HAL_NVIC_EnableIRQ(DMA2_Stream0_IRQn);

}

static void MX_GPIO_Init(void)
{
  GPIO_InitTypeDef GPIO_InitStruct = {0};

  /* GPIO Ports Clock Enable */
  __HAL_RCC_GPIOE_CLK_ENABLE();
  __HAL_RCC_GPIOC_CLK_ENABLE();
  __HAL_RCC_GPIOH_CLK_ENABLE();
  __HAL_RCC_GPIOA_CLK_ENABLE();
  __HAL_RCC_GPIOB_CLK_ENABLE();
  __HAL_RCC_GPIOD_CLK_ENABLE();

  /*Configure GPIO pin Output Level */
  HAL_GPIO_WritePin(GPIOE, GPIO_PIN_3, GPIO_PIN_RESET);

  /*Configure GPIO pin Output Level */
  HAL_GPIO_WritePin(GPIOC, CS1_Pin|CS2_Pin, GPIO_PIN_RESET);

  /*Configure GPIO pin Output Level */
  HAL_GPIO_WritePin(GPIOB, CS3_Pin|CS4_Pin|GPIO_Output_01_Pin|GPIO_Output_02_Pin, GPIO_PIN_RESET);

  /*Configure GPIO pin Output Level */
  HAL_GPIO_WritePin(GPIOD, GPIO_Output_03_Pin|GPIO_Output_04_Pin|CSN_Pin|CE_Pin
                          |LD4_Pin|LD3_Pin|LD5_Pin|LD6_Pin
                          |Audio_RST_Pin, GPIO_PIN_RESET);

  /*Configure GPIO pin : PE3 */
  GPIO_InitStruct.Pin = GPIO_PIN_3;
  GPIO_InitStruct.Mode = GPIO_MODE_OUTPUT_PP;
  GPIO_InitStruct.Pull = GPIO_NOPULL;
  GPIO_InitStruct.Speed = GPIO_SPEED_FREQ_LOW;
  HAL_GPIO_Init(GPIOE, &GPIO_InitStruct);

  /*Configure GPIO pin : PDM_OUT_Pin */
  GPIO_InitStruct.Pin = PDM_OUT_Pin;
  GPIO_InitStruct.Mode = GPIO_MODE_AF_PP;
  GPIO_InitStruct.Pull = GPIO_NOPULL;
  GPIO_InitStruct.Speed = GPIO_SPEED_FREQ_LOW;
  GPIO_InitStruct.Alternate = GPIO_AF5_SPI2;
  HAL_GPIO_Init(PDM_OUT_GPIO_Port, &GPIO_InitStruct);

  /*Configure GPIO pins : CS1_Pin CS2_Pin */
  GPIO_InitStruct.Pin = CS1_Pin|CS2_Pin;
  GPIO_InitStruct.Mode = GPIO_MODE_OUTPUT_PP;
  GPIO_InitStruct.Pull = GPIO_NOPULL;
  GPIO_InitStruct.Speed = GPIO_SPEED_FREQ_LOW;
  HAL_GPIO_Init(GPIOC, &GPIO_InitStruct);

  /*Configure GPIO pins : CS3_Pin CS4_Pin GPIO_Output_01_Pin GPIO_Output_02_Pin */
  GPIO_InitStruct.Pin = CS3_Pin|CS4_Pin|GPIO_Output_01_Pin|GPIO_Output_02_Pin;
  GPIO_InitStruct.Mode = GPIO_MODE_OUTPUT_PP;
  GPIO_InitStruct.Pull = GPIO_NOPULL;
  GPIO_InitStruct.Speed = GPIO_SPEED_FREQ_LOW;
  HAL_GPIO_Init(GPIOB, &GPIO_InitStruct);

  /*Configure GPIO pin : Radio_IRQ_Pin */
  GPIO_InitStruct.Pin = Radio_IRQ_Pin;
  GPIO_InitStruct.Mode = GPIO_MODE_IT_FALLING;
  GPIO_InitStruct.Pull = GPIO_NOPULL;
  HAL_GPIO_Init(Radio_IRQ_GPIO_Port, &GPIO_InitStruct);

  /*Configure GPIO pins : GPIO_Input_01_Pin GPIO_Input_02_Pin GPIO_Input_03_Pin GPIO_Input_04_Pin */
  GPIO_InitStruct.Pin = GPIO_Input_01_Pin|GPIO_Input_02_Pin|GPIO_Input_03_Pin|GPIO_Input_04_Pin;
  GPIO_InitStruct.Mode = GPIO_MODE_INPUT;
  GPIO_InitStruct.Pull = GPIO_NOPULL;
  HAL_GPIO_Init(GPIOE, &GPIO_InitStruct);

  /*Configure GPIO pin : CLK_IN_Pin */
  GPIO_InitStruct.Pin = CLK_IN_Pin;
  GPIO_InitStruct.Mode = GPIO_MODE_AF_PP;
  GPIO_InitStruct.Pull = GPIO_NOPULL;
  GPIO_InitStruct.Speed = GPIO_SPEED_FREQ_LOW;
  GPIO_InitStruct.Alternate = GPIO_AF5_SPI2;
  HAL_GPIO_Init(CLK_IN_GPIO_Port, &GPIO_InitStruct);

  /*Configure GPIO pins : GPIO_Output_03_Pin GPIO_Output_04_Pin CSN_Pin CE_Pin
                           LD4_Pin LD3_Pin LD5_Pin LD6_Pin
                           Audio_RST_Pin */
  GPIO_InitStruct.Pin = GPIO_Output_03_Pin|GPIO_Output_04_Pin|CSN_Pin|CE_Pin
                          |LD4_Pin|LD3_Pin|LD5_Pin|LD6_Pin
                          |Audio_RST_Pin;
  GPIO_InitStruct.Mode = GPIO_MODE_OUTPUT_PP;
  GPIO_InitStruct.Pull = GPIO_NOPULL;
  GPIO_InitStruct.Speed = GPIO_SPEED_FREQ_LOW;
  HAL_GPIO_Init(GPIOD, &GPIO_InitStruct);

  /*Configure GPIO pin : PE0 */
  GPIO_InitStruct.Pin = GPIO_PIN_0;
  GPIO_InitStruct.Mode = GPIO_MODE_IT_RISING;
  GPIO_InitStruct.Pull = GPIO_NOPULL;
  HAL_GPIO_Init(GPIOE, &GPIO_InitStruct);

  /*Configure GPIO pin : MEMS_INT2_Pin */
  GPIO_InitStruct.Pin = MEMS_INT2_Pin;
  GPIO_InitStruct.Mode = GPIO_MODE_EVT_RISING;
  GPIO_InitStruct.Pull = GPIO_NOPULL;
  HAL_GPIO_Init(MEMS_INT2_GPIO_Port, &GPIO_InitStruct);

  /* EXTI interrupt init*/
  HAL_NVIC_SetPriority(EXTI0_IRQn, 0, 0);
  HAL_NVIC_EnableIRQ(EXTI0_IRQn);

  HAL_NVIC_SetPriority(EXTI2_IRQn, 0, 0);
  HAL_NVIC_EnableIRQ(EXTI2_IRQn);

}

/* USER CODE BEGIN 4 */

void HAL_GPIO_EXTI_Callback(uint16_t GPIO_Pin)
{
  /* Prevent unused argument(s) compilation warning */
  UNUSED(GPIO_Pin);
  /* NOTE: This function Should not be modified, when the callback is needed,
           the HAL_GPIO_EXTI_Callback could be implemented in the user file
   */

	gAccelerometer_DataReady_Flag = 1;
//	HAL_GPIO_TogglePin(GPIOD, GPIO_PIN_13 );		// Orange LED
}

/* USER CODE END 4 */

void Error_Handler(void)
{
}

/************************ (C) COPYRIGHT STMicroelectronics *****END OF FILE****/
